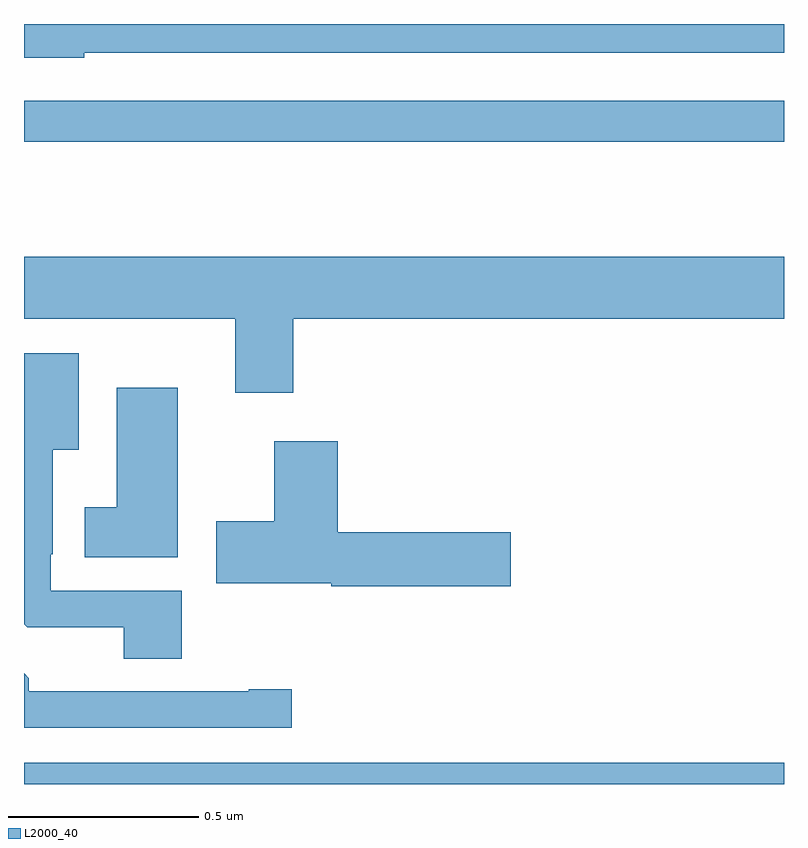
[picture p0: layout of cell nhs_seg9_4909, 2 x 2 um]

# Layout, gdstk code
import gdstk
lib = gdstk.Library(unit=1e-6, precision=1e-09)
def R(c, l, rs):  # rectangles x0, y0, x1, y1
    for r in rs: c.add(gdstk.rectangle(r[:2], r[2:], *l))
def P(c, l, *ps):  # polygons
    for p in ps: c.add(gdstk.Polygon(p, *l))
L2000_40 = (2000, 40)

nhs_seg9_4909 = lib.new_cell('nhs_seg9_4909')
R(nhs_seg9_4909, L2000_40, [(172,1224.5,174,1224.556), (172,1226.19,174,1226.298)])
P(nhs_seg9_4909, L2000_40, [(172.158,1226.424),(174,1226.424),(174,1226.5),(172,1226.5),(172,1226.411),(172.158,1226.411)],
  [(172.709,1225.724),(174,1225.724),(174,1225.888),(172,1225.888),(172,1225.724),(172.556,1225.724),(172.556,1225.53),(172.709,1225.53)],
  [(172.415,1225.008),(172.071,1225.008),(172.071,1225.105),(172.075,1225.105),(172.075,1225.379),(172.144,1225.379),(172.144,1225.633),(172,1225.633),(172,1224.92),(172.008,1224.912),(172.262,1224.912),(172.262,1224.829),(172.415,1224.829)],
  [(172.405,1225.543),(172.244,1225.543),(172.244,1225.228),(172.16,1225.228),(172.16,1225.097),(172.405,1225.097)],
  [(173.281,1225.163),(172.826,1225.163),(172.826,1225.402),(172.658,1225.402),(172.658,1225.191),(172.506,1225.191),(172.506,1225.028),(172.809,1225.028),(172.809,1225.021),(173.281,1225.021)],
  [(172.705,1224.749),(172.592,1224.749),(172.592,1224.744),(172.013,1224.744),(172.013,1224.778),(172,1224.791),(172,1224.648),(172.705,1224.648)])

lib.write_gds('nhs_seg9_4909.gds')
